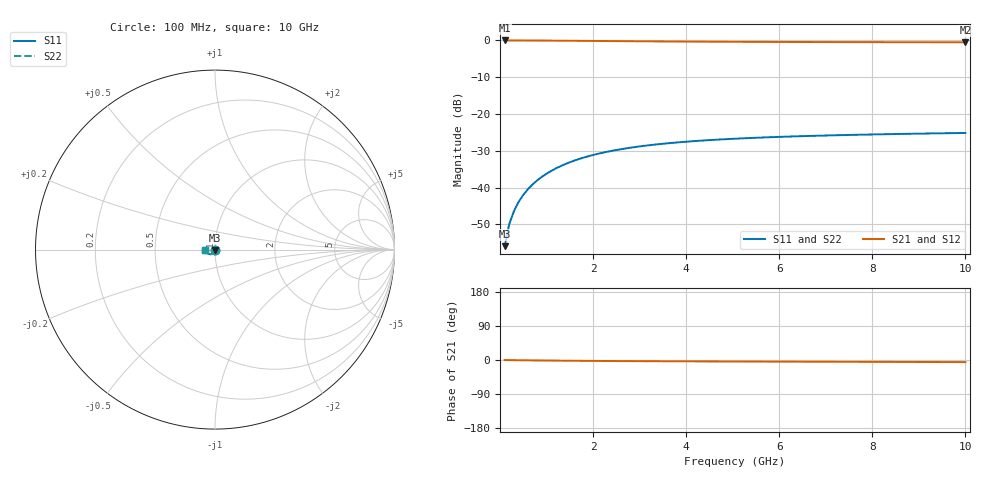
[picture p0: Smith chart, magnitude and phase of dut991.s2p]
! Touchstone file exported from HFSS 2024.1.0
!  File:  C:/UserFiles/LocalFiles/RDL_TSV_Batchsim/temp_TSV1_991_1779952763.aedt
!  Generated:  03:26:22 PM May 28, 2026
!  Design:  TSV1
!  Project:  temp_TSV1_991_1779952763
!  Setup:  Setup1
!  Solution:  Sweep
! Variables:
!  dtsv = 12.31um
!  hbump = 3um
!  htsv = 86.44um
!  lrdl = 252.1521522um
!  p = 40
!  p1 = 53.47um
!  t = 500um
!  trdl = 3um
!  wrdl = 24.89489489um
# GHz S MA R 50.000000
! Terminal data exported
! Port[1] = TSV22_T1
! Port[2] = TSV22_T2
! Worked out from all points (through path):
!   100 points, 100 MHz to 10 GHz, reference 50 ohm
!   highest |S21| = 0.00 dB at 100 MHz (marker M1); lowest = -0.5 dB at 10 GHz (marker M2)
!   lowest |S11| = -55.9 dB at 100 MHz (marker M3), VSWR 1.00, Z = 50 - j0.16 ohm
!   |S11| at or under -10 dB: start of sweep to end of sweep
!   |S22| runs from -55.9 to -25.1 dB; largest |S21 - S12| = 3.1e-15
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0.1  0.001599 -88.2  0.9998 -0.1  0.9998 -0.1  0.001599 -88.2
! Gamma 0 0 0 0
! Port Impedance 50 0 50 0
0.2  0.003193 -91.7  0.9997 -0.3  0.9997 -0.3  0.003193 -91.7
0.3  0.004785 -94.0  0.9994 -0.4  0.9994 -0.4  0.004785 -94.0
0.4  0.006369 -96.1  0.999 -0.6  0.999 -0.6  0.006369 -96.1
0.5  0.00794 -98.1  0.9986 -0.7  0.9986 -0.7  0.00794 -98.1
0.6  0.009492 -100.0  0.998 -0.9  0.998 -0.9  0.009492 -100.0
0.7  0.01102 -101.9  0.9974 -1.0  0.9974 -1.0  0.01102 -101.9
0.8  0.01252 -103.7  0.9967 -1.1  0.9967 -1.1  0.01252 -103.7
0.9  0.014 -105.5  0.9959 -1.2  0.9959 -1.2  0.014 -105.5
1.1  0.01684 -109.0  0.9942 -1.5  0.9942 -1.5  0.01684 -109.0
1.4  0.02083 -114.0  0.9913 -1.8  0.9913 -1.8  0.02083 -114.0
1.6  0.02329 -117.1  0.9892 -2.0  0.9892 -2.0  0.02329 -117.1
1.8  0.02559 -120.1  0.987 -2.2  0.987 -2.2  0.02559 -120.1
2.1  0.02874 -124.3  0.9837 -2.5  0.9837 -2.5  0.02874 -124.3
2.5  0.03242 -129.5  0.9794 -2.8  0.9794 -2.8  0.03242 -129.5
2.9  0.03556 -134.1  0.9753 -3.0  0.9753 -3.0  0.03556 -134.1
3.4  0.03884 -139.3  0.9707 -3.3  0.9707 -3.3  0.03884 -139.3
4.2  0.04294 -146.3  0.9644 -3.6  0.9644 -3.6  0.04294 -146.3
5.1  0.04634 -152.8  0.9588 -3.9  0.9588 -3.9  0.04634 -152.8
6.7  0.05045 -162.0  0.9517 -4.5  0.9517 -4.5  0.05045 -162.0
8.4  0.05333 -169.7  0.9468 -5.0  0.9468 -5.0  0.05333 -169.7
10  0.05528 -175.6  0.9437 -5.6  0.9437 -5.6  0.05528 -175.6
